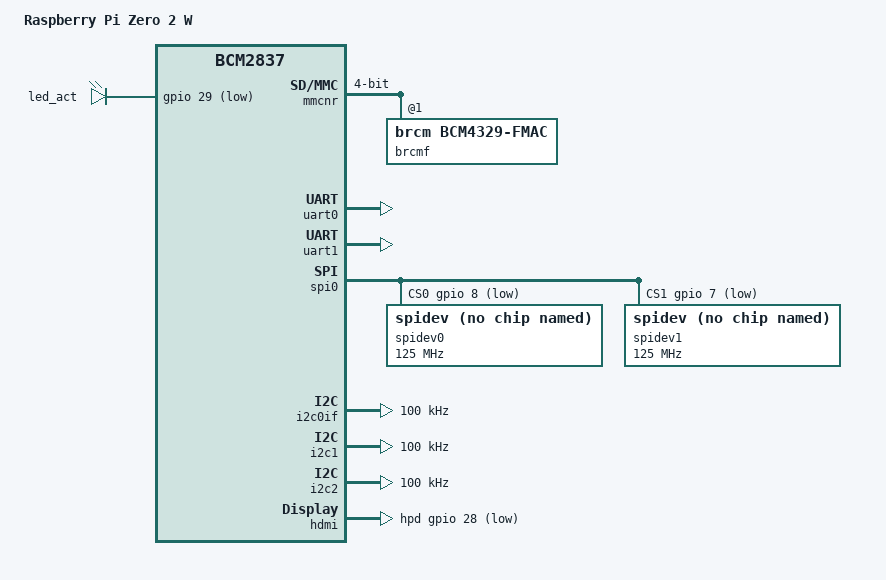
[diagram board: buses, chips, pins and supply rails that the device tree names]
/dts-v1/;

#include "bcm2710.dtsi"
#include "bcm2709-rpi.dtsi"
#include "bcm283x-rpi-csi1-2lane.dtsi"
#include "bcm283x-rpi-i2c0mux_0_44.dtsi"
#include "bcm2708-rpi-bt.dtsi"
#include "bcm283x-rpi-led-deprecated.dtsi"

/ {
	compatible = "raspberrypi,model-zero-2-w", "brcm,bcm2837";
	model = "Raspberry Pi Zero 2 W";

	chosen {
		bootargs = "coherent_pool=1M 8250.nr_uarts=1 snd_bcm2835.enable_headphones=0";
	};

	aliases {
		serial0 = &uart1;
		serial1 = &uart0;
		mmc1 = &mmcnr;
	};
};

&gpio {
	/*
	 * This is based on the official GPU firmware DT blob.
	 *
	 * Legend:
	 * "NC" = not connected (no rail from the SoC)
	 * "FOO" = GPIO line named "FOO" on the schematic
	 * "FOO_N" = GPIO line named "FOO" on schematic, active low
	 */
	gpio-line-names = "ID_SDA",
			  "ID_SCL",
			  "SDA1",
			  "SCL1",
			  "GPIO_GCLK",
			  "GPIO5",
			  "GPIO6",
			  "SPI_CE1_N",
			  "SPI_CE0_N",
			  "SPI_MISO",
			  "SPI_MOSI",
			  "SPI_SCLK",
			  "GPIO12",
			  "GPIO13",
			  /* Serial port */
			  "TXD1",
			  "RXD1",
			  "GPIO16",
			  "GPIO17",
			  "GPIO18",
			  "GPIO19",
			  "GPIO20",
			  "GPIO21",
			  "GPIO22",
			  "GPIO23",
			  "GPIO24",
			  "GPIO25",
			  "GPIO26",
			  "GPIO27",
			  "HDMI_HPD_N",
			  "STATUS_LED_N",
			  /* Used by BT module */
			  "CTS0",
			  "RTS0",
			  "TXD0",
			  "RXD0",
			  /* Used by Wifi */
			  "SD1_CLK",
			  "SD1_CMD",
			  "SD1_DATA0",
			  "SD1_DATA1",
			  "SD1_DATA2",
			  "SD1_DATA3",
			  "CAM_GPIO1", /* GPIO40 */
			  "WL_ON", /* GPIO41 */
			  "BT_ON", /* GPIO42 */
			  "WIFI_CLK", /* GPIO43 */
			  "SDA0", /* GPIO44 */
			  "SCL0", /* GPIO45 */
			  "SMPS_SCL", /* GPIO46 */
			  "SMPS_SDA", /* GPIO47 */
			  /* Used by SD Card */
			  "SD_CLK_R",
			  "SD_CMD_R",
			  "SD_DATA0_R",
			  "SD_DATA1_R",
			  "SD_DATA2_R",
			  "SD_DATA3_R";

	spi0_pins: spi0_pins {
		brcm,pins = <9 10 11>;
		brcm,function = <4>; /* alt0 */
	};

	spi0_cs_pins: spi0_cs_pins {
		brcm,pins = <8 7>;
		brcm,function = <1>; /* output */
	};

	i2c0_pins: i2c0 {
		brcm,pins = <0 1>;
		brcm,function = <4>;
	};

	i2c1_pins: i2c1 {
		brcm,pins = <2 3>;
		brcm,function = <4>;
	};

	i2s_pins: i2s {
		brcm,pins = <18 19 20 21>;
		brcm,function = <4>; /* alt0 */
	};

	sdio_pins: sdio_pins {
		brcm,pins =     <34 35 36 37 38 39>;
		brcm,function = <7>; // alt3 = SD1
		brcm,pull =     <0 2 2 2 2 2>;
	};

	bt_pins: bt_pins {
		brcm,pins = <43>;
		brcm,function = <4>; /* alt0:GPCLK2 */
		brcm,pull = <0>;
	};

	uart0_pins: uart0_pins {
		brcm,pins = <30 31 32 33>;
		brcm,function = <7>; /* alt3=UART0 */
		brcm,pull = <2 0 0 2>; /* up none none up */
	};

	uart1_pins: uart1_pins {
		brcm,pins;
		brcm,function;
		brcm,pull;
	};

	uart1_bt_pins: uart1_bt_pins {
		brcm,pins = <32 33 30 31>;
		brcm,function = <BCM2835_FSEL_ALT5>; /* alt5=UART1 */
		brcm,pull = <0 2 2 0>;
	};

	audio_pins: audio_pins {
		brcm,pins = <>;
		brcm,function = <>;
	};
};

&mmcnr {
	pinctrl-names = "default";
	pinctrl-0 = <&sdio_pins>;
	bus-width = <4>;
	status = "okay";
	#address-cells = <1>;
	#size-cells = <0>;

	brcmf: wifi@1 {
		reg = <1>;
		compatible = "brcm,bcm4329-fmac";

		firmwares {
			fw_43436p {
				chipid = <43430>;
				revmask = <4>;
				fw_base = "brcm/brcmfmac43436-sdio";
			};
			fw_43436s {
				chipid = <43430>;
				revmask = <2>;
				fw_base = "brcm/brcmfmac43436s-sdio";
			};
		};
	};
};

&uart0 {
	pinctrl-names = "default";
	pinctrl-0 = <&uart0_pins &bt_pins>;
	status = "okay";
};

&uart1 {
	pinctrl-names = "default";
	pinctrl-0 = <&uart1_pins>;
	status = "okay";
};

&spi0 {
	pinctrl-names = "default";
	pinctrl-0 = <&spi0_pins &spi0_cs_pins>;
	cs-gpios = <&gpio 8 1>, <&gpio 7 1>;

	spidev0: spidev@0{
		compatible = "spidev";
		reg = <0>;	/* CE0 */
		#address-cells = <1>;
		#size-cells = <0>;
		spi-max-frequency = <125000000>;
	};

	spidev1: spidev@1{
		compatible = "spidev";
		reg = <1>;	/* CE1 */
		#address-cells = <1>;
		#size-cells = <0>;
		spi-max-frequency = <125000000>;
	};
};

&i2c0if {
	clock-frequency = <100000>;
};

&i2c1 {
	pinctrl-names = "default";
	pinctrl-0 = <&i2c1_pins>;
	clock-frequency = <100000>;
};

&i2c2 {
	clock-frequency = <100000>;
};

&i2s {
	pinctrl-names = "default";
	pinctrl-0 = <&i2s_pins>;
};

&led_act {
	gpios = <&gpio 29 GPIO_ACTIVE_LOW>;
	default-state = "off";
	linux,default-trigger = "actpwr";
};

&hdmi {
	hpd-gpios = <&gpio 28 GPIO_ACTIVE_LOW>;
};

&vchiq {
	pinctrl-names = "default";
	pinctrl-0 = <&audio_pins>;
};

&bt {
	shutdown-gpios = <&gpio 42 GPIO_ACTIVE_HIGH>;
};

&minibt {
	shutdown-gpios = <&gpio 42 GPIO_ACTIVE_HIGH>;
};

&cam1_reg {
	gpio = <&gpio 40 GPIO_ACTIVE_HIGH>;
};

cam0_reg: &cam_dummy_reg {
};

i2c_csi_dsi0: &i2c0 {
};

/ {
	__overrides__ {
		audio = <&chosen>,"bootargs{on='snd_bcm2835.enable_hdmi=1',off='snd_bcm2835.enable_hdmi=0'}";

		act_led_gpio = <&led_act>,"gpios:4";
		act_led_activelow = <&led_act>,"gpios:8";
		act_led_trigger = <&led_act>,"linux,default-trigger";
	};
};
